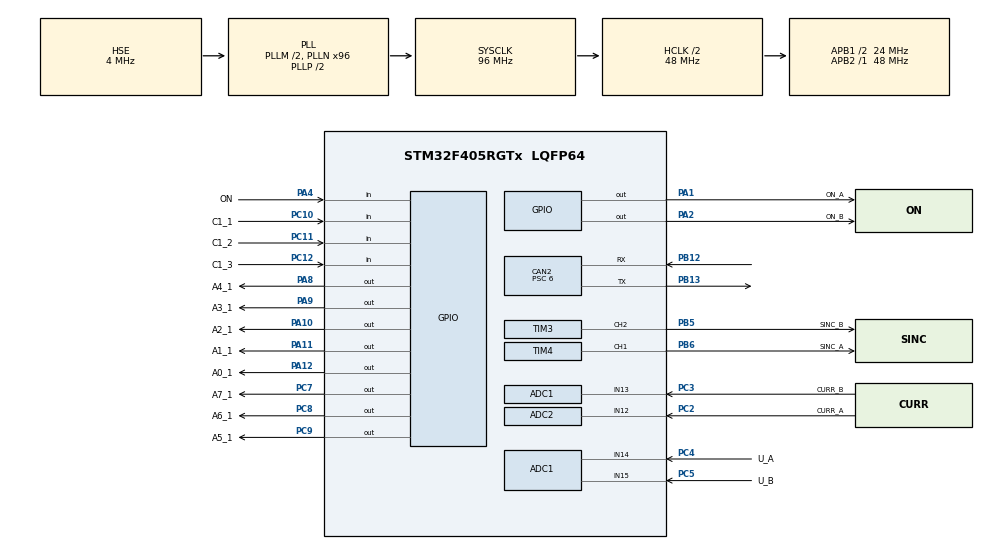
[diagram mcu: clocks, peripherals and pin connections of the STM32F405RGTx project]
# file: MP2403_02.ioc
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ADC1.Channel-0\#ChannelRegularConversion=ADC_CHANNEL_12
ADC1.Channel-10\#ChannelRegularConversion=ADC_CHANNEL_15
ADC1.Channel-11\#ChannelRegularConversion=ADC_CHANNEL_TEMPSENSOR
ADC1.Channel-8\#ChannelRegularConversion=ADC_CHANNEL_13
ADC1.Channel-9\#ChannelRegularConversion=ADC_CHANNEL_14
ADC1.ClockPrescaler=ADC_CLOCK_SYNC_PCLK_DIV2
ADC1.ContinuousConvMode=DISABLE
ADC1.DMAContinuousRequests=ENABLE
ADC1.EOCSelection=ADC_EOC_SINGLE_CONV
ADC1.ExternalTrigConv=ADC_SOFTWARE_START
ADC1.InjNumberOfConversion=0
ADC1.NbrOfConversion=5
ADC1.NbrOfConversionFlag=1
ADC1.Rank-0\#ChannelRegularConversion=1
ADC1.Rank-10\#ChannelRegularConversion=4
ADC1.Rank-11\#ChannelRegularConversion=5
ADC1.Rank-8\#ChannelRegularConversion=2
ADC1.Rank-9\#ChannelRegularConversion=3
ADC1.SamplingTime-0\#ChannelRegularConversion=ADC_SAMPLETIME_144CYCLES
ADC1.SamplingTime-10\#ChannelRegularConversion=ADC_SAMPLETIME_144CYCLES
ADC1.SamplingTime-11\#ChannelRegularConversion=ADC_SAMPLETIME_144CYCLES
ADC1.SamplingTime-8\#ChannelRegularConversion=ADC_SAMPLETIME_144CYCLES
ADC1.SamplingTime-9\#ChannelRegularConversion=ADC_SAMPLETIME_144CYCLES
ADC1.ScanConvMode=ENABLE
ADC1.master=1
ADC2.Channel-0\#ChannelRegularConversion=ADC_CHANNEL_12
ADC2.Channel-1\#ChannelRegularConversion=ADC_CHANNEL_13
ADC2.Channel-2\#ChannelRegularConversion=ADC_CHANNEL_14
ADC2.Channel-3\#ChannelRegularConversion=ADC_CHANNEL_15
ADC2.NbrOfConversion=4
ADC2.NbrOfConversionFlag=1
ADC2.Rank-0\#ChannelRegularConversion=1
ADC2.Rank-1\#ChannelRegularConversion=2
ADC2.Rank-2\#ChannelRegularConversion=3
ADC2.Rank-3\#ChannelRegularConversion=4
ADC2.SamplingTime-0\#ChannelRegularConversion=ADC_SAMPLETIME_56CYCLES
ADC2.SamplingTime-1\#ChannelRegularConversion=ADC_SAMPLETIME_56CYCLES
ADC2.SamplingTime-2\#ChannelRegularConversion=ADC_SAMPLETIME_56CYCLES
ADC2.SamplingTime-3\#ChannelRegularConversion=ADC_SAMPLETIME_56CYCLES
ADC2.ScanConvMode=ENABLE
CAN2.ABOM=ENABLE
CAN2.BS1=CAN_BS1_13TQ
CAN2.BS2=CAN_BS2_2TQ
CAN2.CalculateBaudRate=250000
CAN2.CalculateTimeBit=4000
CAN2.CalculateTimeQuantum=250.0
CAN2.NART=ENABLE
CAN2.Prescaler=6
Dma.ADC1.0.Direction=DMA_PERIPH_TO_MEMORY
Dma.ADC1.0.FIFOMode=DMA_FIFOMODE_DISABLE
Dma.ADC1.0.Instance=DMA2_Stream0
Dma.ADC1.0.MemDataAlignment=DMA_MDATAALIGN_HALFWORD
Dma.ADC1.0.MemInc=DMA_MINC_ENABLE
Dma.ADC1.0.Mode=DMA_CIRCULAR
Dma.ADC1.0.PeriphDataAlignment=DMA_PDATAALIGN_HALFWORD
Dma.ADC1.0.PeriphInc=DMA_PINC_DISABLE
Dma.ADC1.0.Priority=DMA_PRIORITY_MEDIUM
Dma.ADC2.3.Direction=DMA_PERIPH_TO_MEMORY
Dma.ADC2.3.FIFOMode=DMA_FIFOMODE_DISABLE
Dma.ADC2.3.Instance=DMA2_Stream2
Dma.ADC2.3.MemDataAlignment=DMA_MDATAALIGN_HALFWORD
Dma.ADC2.3.MemInc=DMA_MINC_ENABLE
Dma.ADC2.3.Mode=DMA_NORMAL
Dma.ADC2.3.PeriphDataAlignment=DMA_PDATAALIGN_HALFWORD
Dma.ADC2.3.PeriphInc=DMA_PINC_DISABLE
Dma.ADC2.3.Priority=DMA_PRIORITY_LOW
Dma.Request0=ADC1
Dma.Request1=TIM4_CH1
Dma.Request2=TIM3_CH2
Dma.Request3=ADC2
Dma.TIM3_CH2.2.Direction=DMA_MEMORY_TO_PERIPH
Dma.TIM3_CH2.2.FIFOMode=DMA_FIFOMODE_DISABLE
Dma.TIM3_CH2.2.Instance=DMA1_Stream5
Dma.TIM3_CH2.2.MemDataAlignment=DMA_MDATAALIGN_HALFWORD
Dma.TIM3_CH2.2.MemInc=DMA_MINC_ENABLE
Dma.TIM3_CH2.2.Mode=DMA_CIRCULAR
Dma.TIM3_CH2.2.PeriphDataAlignment=DMA_PDATAALIGN_HALFWORD
Dma.TIM3_CH2.2.PeriphInc=DMA_PINC_DISABLE
Dma.TIM3_CH2.2.Priority=DMA_PRIORITY_LOW
Dma.TIM4_CH1.1.Direction=DMA_MEMORY_TO_PERIPH
Dma.TIM4_CH1.1.FIFOMode=DMA_FIFOMODE_DISABLE
Dma.TIM4_CH1.1.Instance=DMA1_Stream0
Dma.TIM4_CH1.1.MemDataAlignment=DMA_MDATAALIGN_HALFWORD
Dma.TIM4_CH1.1.MemInc=DMA_MINC_ENABLE
Dma.TIM4_CH1.1.Mode=DMA_CIRCULAR
Dma.TIM4_CH1.1.PeriphDataAlignment=DMA_PDATAALIGN_HALFWORD
Dma.TIM4_CH1.1.PeriphInc=DMA_PINC_DISABLE
Dma.TIM4_CH1.1.Priority=DMA_PRIORITY_LOW
FREERTOS.Tasks01=defaultTask,24,128,StartDefaultTask,Default,NULL,Dynamic,NULL,NULL;Button,8,128,ButtonTask,Default,NULL,Dynamic,NULL,NULL;Output,8,128,OutputTask,Default,NULL,Dynamic,NULL,NULL;SwitchMode,8,128,SwitchModeTask,Default,NULL,Dynamic,NULL,NULL;Can,8,128,CanTask,Default,NULL,Dynamic,NULL,NULL;Adc,8,128,AdcTask,Default,NULL,Dynamic,NULL,NULL;Led,8,128,LedTask,Default,NULL,Dynamic,NULL,NULL
FREERTOS.configUSE_NEWLIB_REENTRANT=1
Mcu.Family=STM32F4
Mcu.Name=STM32F405RGTx
Mcu.Package=LQFP64
NVIC.CAN2_RX0_IRQn=true\:5\:0\:false\:false\:true\:true\:true\:true
NVIC.CAN2_RX1_IRQn=true\:5\:0\:false\:false\:true\:true\:true\:true
NVIC.DMA1_Stream0_IRQn=true\:5\:0\:false\:false\:true\:true\:false\:true
NVIC.DMA1_Stream5_IRQn=true\:5\:0\:false\:false\:true\:true\:false\:true
NVIC.DMA2_Stream0_IRQn=true\:5\:0\:false\:false\:true\:true\:false\:true
NVIC.DMA2_Stream2_IRQn=true\:5\:0\:false\:false\:true\:true\:false\:true
NVIC.PriorityGroup=NVIC_PRIORITYGROUP_4
NVIC.TIM1_UP_TIM10_IRQn=true\:15\:0\:false\:false\:true\:false\:false\:true
NVIC.TIM5_IRQn=true\:5\:0\:false\:false\:true\:true\:true\:true
NVIC.TimeBase=TIM1_UP_TIM10_IRQn
NVIC.TimeBaseIP=TIM1
PA1.GPIO_Label=ON_A
PA1.Signal=GPIO_Output
PA10.GPIO_Label=A2_1
PA10.Signal=GPIO_Output
PA11.GPIO_Label=A1_1
PA11.Signal=GPIO_Output
PA12.GPIO_Label=A0_1
PA12.Signal=GPIO_Output
PA2.GPIO_Label=ON_B
PA2.Signal=GPIO_Output
PA4.GPIO_Label=ON
PA4.Signal=GPIO_Input
PA8.GPIO_Label=A4_1
PA8.Signal=GPIO_Output
PA9.GPIO_Label=A3_1
PA9.Signal=GPIO_Output
PB12.Mode=CAN_Activate
PB12.Signal=CAN2_RX
PB13.Mode=CAN_Activate
PB13.Signal=CAN2_TX
PB5.GPIO_Label=SINC_B
PB5.GPIO_ModeDefaultPP=GPIO_MODE_AF_PP
PB5.GPIO_PuPd=GPIO_NOPULL
PB5.GPIO_Speed=GPIO_SPEED_FREQ_LOW
PB5.Signal=S_TIM3_CH2
PB6.GPIO_Label=SINC_A
PB6.Signal=S_TIM4_CH1
PC10.GPIO_Label=C1_1
PC10.Signal=GPIO_Input
PC11.GPIO_Label=C1_2
PC11.Signal=GPIO_Input
PC12.GPIO_Label=C1_3
PC12.Signal=GPIO_Input
PC2.GPIO_Label=CURR_A
PC2.Signal=ADCx_IN12
PC3.GPIO_Label=CURR_B
PC3.Signal=ADCx_IN13
PC4.GPIO_Label=U_A
PC4.Signal=ADCx_IN14
PC5.GPIO_Label=U_B
PC5.Signal=ADCx_IN15
PC7.GPIO_Label=A7_1
PC7.Signal=GPIO_Output
PC8.GPIO_Label=A6_1
PC8.Signal=GPIO_Output
PC9.GPIO_Label=A5_1
PC9.Signal=GPIO_Output
PH0-OSC_IN.Mode=HSE-External-Oscillator
PH0-OSC_IN.Signal=RCC_OSC_IN
PH1-OSC_OUT.Mode=HSE-External-Oscillator
PH1-OSC_OUT.Signal=RCC_OSC_OUT
ProjectManager.HeapSize=0x200
ProjectManager.StackSize=0x400
ProjectManager.TargetToolchain=STM32CubeIDE
RCC.48MHZClocksFreq_Value=48000000
RCC.AHBCLKDivider=RCC_SYSCLK_DIV2
RCC.AHBFreq_Value=48000000
RCC.APB1CLKDivider=RCC_HCLK_DIV2
RCC.APB1Freq_Value=24000000
RCC.APB1TimFreq_Value=48000000
RCC.APB2Freq_Value=48000000
RCC.APB2TimFreq_Value=48000000
RCC.CortexFreq_Value=48000000
RCC.HCLKFreq_Value=48000000
RCC.HSE_VALUE=4000000
RCC.HSI_VALUE=16000000
RCC.LSE_VALUE=32768
RCC.PLLM=2
RCC.PLLN=96
RCC.PLLSourceVirtual=RCC_PLLSOURCE_HSE
RCC.SYSCLKFreq_VALUE=96000000
RCC.SYSCLKSource=RCC_SYSCLKSOURCE_PLLCLK
RCC.VCOOutputFreq_Value=192000000
SH.ADCx_IN12.0=ADC2_IN12,IN12
SH.ADCx_IN13.0=ADC1_IN13,IN13
SH.ADCx_IN13.1=ADC2_IN13,IN13
SH.ADCx_IN14.0=ADC1_IN14,IN14
SH.ADCx_IN14.1=ADC2_IN14,IN14
SH.ADCx_IN15.0=ADC1_IN15,IN15
SH.ADCx_IN15.1=ADC2_IN15,IN15
SH.S_TIM3_CH2.0=TIM3_CH2,PWM Generation2 CH2
SH.S_TIM4_CH1.0=TIM4_CH1,PWM Generation1 CH1
TIM3.Channel-Output\ Compare1\ No\ Output=TIM_CHANNEL_1
TIM3.Channel-PWM\ Generation2\ CH2=TIM_CHANNEL_2
TIM3.OC1Preload=ENABLE
TIM3.OCFastMode_PWM-PWM\ Generation2\ CH2=TIM_OCFAST_DISABLE
TIM3.Period=480
TIM3.Pulse-Output\ Compare1\ No\ Output=240
TIM3.Pulse-PWM\ Generation2\ CH2=48
TIM4.Channel-PWM\ Generation1\ CH1=TIM_CHANNEL_1
TIM4.Period=480
TIM4.Pulse-PWM\ Generation1\ CH1=48
TIM4.TIM_MasterOutputTrigger=TIM_TRGO_UPDATE
TIM5.Channel-Output\ Compare1\ No\ Output=TIM_CHANNEL_1
TIM5.OCMode_1=TIM_OCMODE_TOGGLE
TIM5.Period=400
TIM5.Pulse-Output\ Compare1\ No\ Output=190
VP_ADC1_TempSens_Input.Mode=IN-TempSens
VP_FREERTOS_VS_CMSIS_V2.Mode=CMSIS_V2
VP_SYS_VS_tim1.Mode=TIM1
VP_TIM3_VS_ClockSourceINT.Mode=Internal
VP_TIM3_VS_no_output1.Mode=Output Compare1 No Output
VP_TIM4_VS_ClockSourceINT.Mode=Internal
VP_TIM5_VS_ClockSourceINT.Mode=Internal
VP_TIM5_VS_no_output1.Mode=Output Compare1 No Output
board=custom

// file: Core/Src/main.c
/* USER CODE BEGIN Header */
/**
  ******************************************************************************
  * @file           : main.c
  * @brief          : Main program body
  ******************************************************************************
  * @attention
  *
  * Copyright (c) 2022 STMicroelectronics.
  * All rights reserved.
  *
  * This software is licensed under terms that can be found in the LICENSE file
  * in the root directory of this software component.
  * If no LICENSE file comes with this software, it is provided AS-IS.
  *
  ******************************************************************************
  */
/* USER CODE END Header */
#include "main.h"
#include "cmsis_os.h"
#include "adc.h"
#include "can.h"
#include "dma.h"
#include "tim.h"
#include "gpio.h"

void SystemClock_Config(void);
void MX_FREERTOS_Init(void);

/* USER CODE BEGIN 0 */

struct InsideData DevData;
CAN_RxHeaderTypeDef RxHeader;

/* USER CODE END 0 */

int main(void)
{

  /* MCU Configuration--------------------------------------------------------*/

  /* Reset of all peripherals, Initializes the Flash interface and the Systick. */
  HAL_Init();

  /* Configure the system clock */
  SystemClock_Config();

  /* Initialize all configured peripherals */
  MX_GPIO_Init();
  MX_ADC1_Init();
  MX_CAN2_Init();
  MX_DMA_Init();
  MX_TIM3_Init();
  MX_TIM4_Init();
  MX_TIM5_Init();
  MX_ADC2_Init();
  /* USER CODE BEGIN 2 */
  GetInfo();//состояние джамперов кода места
	HAL_CAN_Start(&hcan2);
	HAL_CAN_ActivateNotification(&hcan2, CAN_IT_RX_FIFO0_MSG_PENDING|CAN_IT_ERROR|CAN_IT_BUSOFF|CAN_IT_LAST_ERROR_CODE);

	//HAL_ADC_Start_DMA(&hadc1, ADCResultBuff, 2);

  /* USER CODE END 2 */

  /* Init scheduler */
  osKernelInitialize();  /* Call init function for freertos objects (in freertos.c) */
  MX_FREERTOS_Init();
  /* Start scheduler */
  osKernelStart();

  /* We should never get here as control is now taken by the scheduler */
  /* Infinite loop */
  while (1)
  {

  }
}

void SystemClock_Config(void)
{
  RCC_OscInitTypeDef RCC_OscInitStruct = {0};
  RCC_ClkInitTypeDef RCC_ClkInitStruct = {0};

  /** Configure the main internal regulator output voltage
  */
  __HAL_RCC_PWR_CLK_ENABLE();
  __HAL_PWR_VOLTAGESCALING_CONFIG(PWR_REGULATOR_VOLTAGE_SCALE1);
  /** Initializes the RCC Oscillators according to the specified parameters
  * in the RCC_OscInitTypeDef structure.
  */
  RCC_OscInitStruct.OscillatorType = RCC_OSCILLATORTYPE_HSE;
  RCC_OscInitStruct.HSEState = RCC_HSE_ON;
  RCC_OscInitStruct.PLL.PLLState = RCC_PLL_ON;
  RCC_OscInitStruct.PLL.PLLSource = RCC_PLLSOURCE_HSE;
  RCC_OscInitStruct.PLL.PLLM = 2;
  RCC_OscInitStruct.PLL.PLLN = 96;
  RCC_OscInitStruct.PLL.PLLP = RCC_PLLP_DIV2;
  RCC_OscInitStruct.PLL.PLLQ = 4;
  if (HAL_RCC_OscConfig(&RCC_OscInitStruct) != HAL_OK)
  {
    Error_Handler();
  }
  /** Initializes the CPU, AHB and APB buses clocks
  */
  RCC_ClkInitStruct.ClockType = RCC_CLOCKTYPE_HCLK|RCC_CLOCKTYPE_SYSCLK
                              |RCC_CLOCKTYPE_PCLK1|RCC_CLOCKTYPE_PCLK2;
  RCC_ClkInitStruct.SYSCLKSource = RCC_SYSCLKSOURCE_PLLCLK;
  RCC_ClkInitStruct.AHBCLKDivider = RCC_SYSCLK_DIV2;
  RCC_ClkInitStruct.APB1CLKDivider = RCC_HCLK_DIV2;
  RCC_ClkInitStruct.APB2CLKDivider = RCC_HCLK_DIV1;

  if (HAL_RCC_ClockConfig(&RCC_ClkInitStruct, FLASH_LATENCY_1) != HAL_OK)
  {
    Error_Handler();
  }
}

/* USER CODE BEGIN 4 */

void HAL_CAN_RxFifo0MsgPendingCallback(CAN_HandleTypeDef *hcan)
{
	uint8_t CanRxBuff[8] = {0,};
	if(HAL_CAN_GetRxMessage(hcan,CAN_RX_FIFO0,&RxHeader,CanRxBuff)==HAL_OK)
	{
		InterputDataCanProt(RxHeader.StdId,&CanRxBuff,&DevData);

	}
}

/* USER CODE END 4 */

void HAL_TIM_PeriodElapsedCallback(TIM_HandleTypeDef *htim)
{
  if (htim->Instance == TIM1) {
    HAL_IncTick();
  }
  /* USER CODE BEGIN Callback 1 */
  if(htim->Instance == TIM5)
   {
        /*
         HAL_TIM_PWM_Start(&htim4, TIM_CHANNEL_1);
        HAL_TIM_Base_Stop_IT(&htim5);
*/

  }
  /* USER CODE END Callback 1 */
}

void Error_Handler(void)
{
  __disable_irq();
  while (1)
  {
  }
}

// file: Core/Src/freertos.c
/* USER CODE BEGIN Header */
/**
  ******************************************************************************
  * File Name          : freertos.c
  * Description        : Code for freertos applications
  ******************************************************************************
  * @attention
  *
  * Copyright (c) 2022 STMicroelectronics.
  * All rights reserved.
  *
  * This software is licensed under terms that can be found in the LICENSE file
  * in the root directory of this software component.
  * If no LICENSE file comes with this software, it is provided AS-IS.
  *
  ******************************************************************************
  */
/* USER CODE END Header */

#include "FreeRTOS.h"
#include "task.h"
#include "main.h"
#include "cmsis_os.h"

/* USER CODE BEGIN Includes */
#include "tim.h"
#include "can.h"
#include "adc.h"
/* USER CODE END Includes */

/* USER CODE BEGIN PM */
//extern TIM_HandleTypeDef htim3;
/* USER CODE END PM */

/* USER CODE BEGIN Variables */
/*extern TIM_HandleTypeDef htim3;
extern TIM_HandleTypeDef htim4;
extern TIM_HandleTypeDef htim5;
extern TIM_HandleTypeDef htim2;
*/
/*extern ADC_HandleTypeDef hadc1;
extern CAN_HandleTypeDef hcan2;
*/

uint8_t ActivSINC2 = 0x00;
uint16_t ADCResultBuff[6] = {0,};
uint16_t ADCResultBuff2[4] = {0,};
uint8_t index;
CAN_TxHeaderTypeDef TxHeader;
CAN_RxHeaderTypeDef RxHeader;

uint8_t CanRxBuff[8] = {0,};
uint8_t ADCflag = 0;

/* USER CODE END Variables */
/* Definitions for defaultTask */
osThreadId_t defaultTaskHandle;
const osThreadAttr_t defaultTask_attributes = {
  .name = "defaultTask",
  .stack_size = 128 * 4,
  .priority = (osPriority_t) osPriorityNormal,
};
/* Definitions for Button */
osThreadId_t ButtonHandle;
const osThreadAttr_t Button_attributes = {
  .name = "Button",
  .stack_size = 128 * 4,
  .priority = (osPriority_t) osPriorityLow,
};
/* Definitions for Output */
osThreadId_t OutputHandle;
const osThreadAttr_t Output_attributes = {
  .name = "Output",
  .stack_size = 128 * 4,
  .priority = (osPriority_t) osPriorityLow,
};
/* Definitions for SwitchMode */
osThreadId_t SwitchModeHandle;
const osThreadAttr_t SwitchMode_attributes = {
  .name = "SwitchMode",
  .stack_size = 128 * 4,
  .priority = (osPriority_t) osPriorityLow,
};
/* Definitions for Can */
osThreadId_t CanHandle;
const osThreadAttr_t Can_attributes = {
  .name = "Can",
  .stack_size = 128 * 4,
  .priority = (osPriority_t) osPriorityLow,
};
/* Definitions for Adc */
osThreadId_t AdcHandle;
const osThreadAttr_t Adc_attributes = {
  .name = "Adc",
  .stack_size = 128 * 4,
  .priority = (osPriority_t) osPriorityLow,
};
/* Definitions for Led */
osThreadId_t LedHandle;
const osThreadAttr_t Led_attributes = {
  .name = "Led",
  .stack_size = 128 * 4,
  .priority = (osPriority_t) osPriorityLow,
};

void StartDefaultTask(void *argument);
void ButtonTask(void *argument);
void OutputTask(void *argument);
void SwitchModeTask(void *argument);
void CanTask(void *argument);
void AdcTask(void *argument);
void LedTask(void *argument);

void MX_FREERTOS_Init(void); /* (MISRA C 2004 rule 8.1) */

void MX_FREERTOS_Init(void) {

  /* Create the thread(s) */
  /* creation of defaultTask */
  defaultTaskHandle = osThreadNew(StartDefaultTask, NULL, &defaultTask_attributes);

  /* creation of Button */
  ButtonHandle = osThreadNew(ButtonTask, NULL, &Button_attributes);

  /* creation of Output */
  OutputHandle = osThreadNew(OutputTask, NULL, &Output_attributes);

  /* creation of SwitchMode */
  SwitchModeHandle = osThreadNew(SwitchModeTask, NULL, &SwitchMode_attributes);

  /* creation of Can */
  CanHandle = osThreadNew(CanTask, NULL, &Can_attributes);

  /* creation of Adc */
  AdcHandle = osThreadNew(AdcTask, NULL, &Adc_attributes);

  /* creation of Led */
  LedHandle = osThreadNew(LedTask, NULL, &Led_attributes);

}

void StartDefaultTask(void *argument)
{
  /* USER CODE BEGIN StartDefaultTask */
	uint16_t buff[] = {48};

	CHANNEL_A_OFF
	CHANNEL_B_OFF
	//LED_CAN_GREEN_ON
	LED_CAN_RED_ON
	  HAL_TIM_PWM_Start_DMA(&htim3, TIM_CHANNEL_2, (uint32_t*)buff, 1);//channel 1
	 HAL_TIM_OC_Start_IT(&htim5, TIM_CHANNEL_1);
	osDelay(100);
	DevData.CanError = EnableSw;
	 // HAL_TIM_Base_Start_IT(&htim6);

  /* Infinite loop */
  for(;;)
  {
	  if(DevData.CanError == EnableSw)
	  {
		  LED_CAN_RED_ON
	  }
		  else{
			  LED_CAN_GREEN_ON
			  DevData.CanError = EnableSw;
			  osDelay(5000);
		  }
	  	 osDelay(50);
  }
  /* USER CODE END StartDefaultTask */
}

void ButtonTask(void *argument)
{
  /* USER CODE BEGIN ButtonTask */
	LED_CAN_GREEN_ON
	DevData.ButtonSwitchOn = DisableSw;
  /* Infinite loop */
  for(;;)
  {
	  if(DevData.ButtonSwitchOn == DisableSw)
	  		{
	  			if(HAL_GPIO_ReadPin(ON_GPIO_Port,ON_Pin)==GPIO_PIN_RESET)
	  			{
	  				osDelay(10);
	  				if(HAL_GPIO_ReadPin(ON_GPIO_Port,ON_Pin)==GPIO_PIN_RESET)
	  				{
	  					DevData.ButtonSwitchOn = EnableSw;
	  				}
	  			}
	  		}
	  		else
	  		{
	  			if(HAL_GPIO_ReadPin(ON_GPIO_Port,ON_Pin)==GPIO_PIN_SET)
	  			{
	  				osDelay(10);
	  				if(HAL_GPIO_ReadPin(ON_GPIO_Port,ON_Pin)==GPIO_PIN_SET)
	  				{
	  					DevData.ButtonSwitchOn = DisableSw;
	  				}
	  			}
	  		}

	      osDelay(1);
  }
  /* USER CODE END ButtonTask */
}

void OutputTask(void *argument)
{
  /* USER CODE BEGIN OutputTask */
  /* Infinite loop */
  for(;;)
  {
/*
	  if(DevData.ButtonSwitchOn & (DevData.CanEnableLoad == CAN_DISABLE_ALL_CH))
	  {
		  CHANNEL_A_ON
	  	  CHANNEL_B_ON
	  	  LED_OUT_1_GREEN_ON
	  	  LED_OUT_2_GREEN_ON
	 }
	  if((DevData.ButtonSwitchOn = 0) & (DevData.CanEnableLoad == CAN_DISABLE_ALL_CH))
	  {
		 CHANNEL_A_OFF
		 CHANNEL_B_OFF
		 LED_OUT_1_GREEN_OFF
		 LED_OUT_2_GREEN_OFF
	  }
	  if(DevData.CanEnableLoad == CAN_ENABLE_ALL_CH)
	  {
		  CHANNEL_A_ON
		  CHANNEL_B_ON
		  LED_OUT_1_GREEN_ON
		  LED_OUT_2_GREEN_ON
	  }
	  if(DevData.CanEnableLoad == CAN_DISABLE_ALL_CH)
	  {
		  CHANNEL_A_OFF
		  CHANNEL_B_OFF
		  LED_OUT_1_GREEN_OFF
		  LED_OUT_2_GREEN_OFF
	  }
*/
	      osDelay(10);
  }
  /* USER CODE END OutputTask */
}

void SwitchModeTask(void *argument)
{
  /* USER CODE BEGIN SwitchModeTask */
	DevData.ModeChannelA = OffChannel;
	DevData.ModeChannelB = OffChannel;
	osDelay(300);
  /* Infinite loop */
  for(;;)
  {
	  ChangeModes(&DevData);

    osDelay(10);
  }
  /* USER CODE END SwitchModeTask */
}

void CanTask(void *argument)
{
  /* USER CODE BEGIN CanTask */
	uint8_t TxCanBuff[8];
	//uint16_t TxID = CAN_PROT_TD_TO_PROG;
  /* Infinite loop */
  for(;;)
  {

	  	ConvertDataTOProt(CAN_PROT_TD_TO_PROG, TxCanBuff, &DevData);
	  	CanSendStdMessage(CAN_PROT_TD_TO_PROG, TxCanBuff);
	  	osDelay(800);
  }
  /* USER CODE END CanTask */
}

void AdcTask(void *argument)
{
  /* USER CODE BEGIN AdcTask */
	//HAL_ADCEx_MultiModeStart_DMA(&hadc1, ADCResultBuff, 5);
	 //HAL_ADCEx_MultiModeConfigChannel(&hadc1, Mode);
	//HAL_TIM_OC_Start(&htim2, TIM_CHANNEL_1);
	//HAL_ADC_Start(&hadc1);
  /* Infinite loop */
  for(;;)
  {
	  HAL_ADC_Start_DMA(&hadc1, ADCResultBuff, 5);
	  HAL_ADC_Start_DMA(&hadc2, ADCResultBuff2, 4);

	  if(ADCflag)
	  {
		  ADCflag = 0;
		  InterputDataFromAdc(&DevData,ADCResultBuff2);
		  AverDataFromAdc(&DevData);

	  }
	  osDelay(50);
  }

  /* USER CODE END AdcTask */
}

void LedTask(void *argument)
{
  /* USER CODE BEGIN LedTask */
  /* Infinite loop */
  for(;;)
  {
	  switch (DevData.ModeChannelA){
	  case OffChannel:
		  LED_OUT_1_ALL_OFF
		  LED_OUT_1_ALL_OFF
		  osDelay(10);
		break;
	  case OnChannel:
		  LED_OUT_1_ALL_OFF
		  LED_OUT_1_GREEN_ON
		  osDelay(10);
	  	break;
	  case OverCurrent:
		  LED_OUT_1_ALL_OFF
	  	  	LED_OUT_1_RED_ON
			osDelay(10);
	  	  	break;
	  case BreakChannel:
		  LED_OUT_1_ALL_OFF
	  	  		LED_OUT_1_YELLOW_ON
				osDelay(10);
	  	  	break;
	  }
	  switch (DevData.ModeChannelB){
		  case OffChannel:
			  LED_OUT_2_ALL_OFF
			  osDelay(10);
			break;
		  case OnChannel:
			  LED_OUT_2_ALL_OFF
			  LED_OUT_2_GREEN_ON
			  osDelay(10);
	  	  	break;
	  	  case OverCurrent:
	  		LED_OUT_2_ALL_OFF
	  		LED_OUT_2_RED_ON
			osDelay(10);
	  	  	  	break;
	  	  case BreakChannel:
	  		LED_OUT_2_ALL_OFF
	  		LED_OUT_2_YELLOW_ON
			osDelay(10);
	  	  	  	break;
	  	  }

    osDelay(10);
  }
  /* USER CODE END LedTask */
}

/* USER CODE BEGIN Application */
void HAL_TIM_OC_DelayElapsedCallback(TIM_HandleTypeDef *htim)
{
        if(htim->Instance == TIM5)
        {/*
        	if(ActivSINC2)
        	{
        		HAL_TIM_PWM_Start(&htim4, TIM_CHANNEL_1);
        		HAL_TIM_OC_Stop_IT(&htim5, TIM_CHANNEL_1);
        	}

            ActivSINC2 = 0xFF;
*/
        	HAL_TIM_PWM_Start(&htim4, TIM_CHANNEL_1);
        	HAL_TIM_OC_Stop_IT(&htim5, TIM_CHANNEL_1);
        }CAN_RxHeaderTypeDef RxHeader;

        uint8_t CanRxBuff[8] = {0,};
}

void HAL_ADC_ConvCpltCallback(ADC_HandleTypeDef* hadc)
{
	if(hadc->Instance == ADC1)
	{
		HAL_ADC_Stop_DMA(&hadc1);

	}
	if(hadc->Instance == ADC2)
	{
		HAL_ADC_Stop_DMA(&hadc2);
		ADCflag = 1;

	}
}

/* USER CODE END Application */
